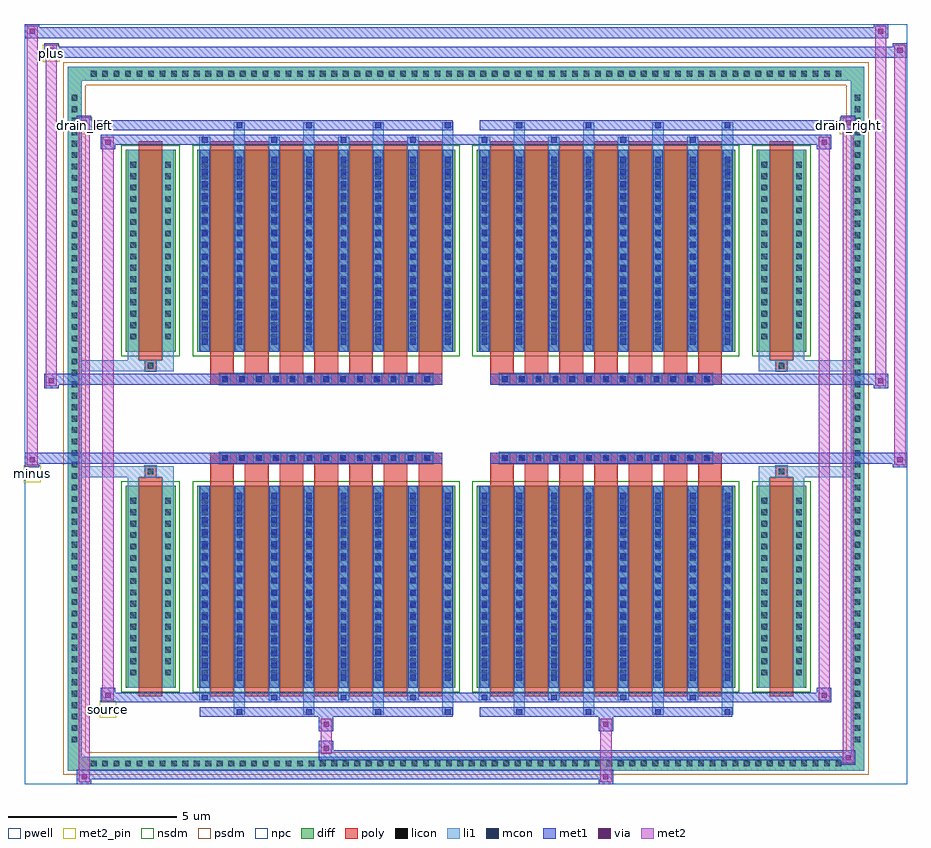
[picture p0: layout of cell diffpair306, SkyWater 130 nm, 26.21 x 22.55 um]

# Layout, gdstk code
import gdstk
lib = gdstk.Library(unit=1e-6, precision=5e-09)
def R(c, l, rs):  # rectangles x0, y0, x1, y1
    for r in rs: c.add(gdstk.rectangle(r[:2], r[2:], *l))
def A(c, l, x, y, w, h, nx, ny, dx, dy):  # array of equal rectangles
    R(c, l, [(x+i*dx, y+j*dy, x+i*dx+w, y+j*dy+h) for i in range(nx) for j in range(ny)])
def P(c, l, *ps):  # polygons
    for p in ps: c.add(gdstk.Polygon(p, *l))
pwell = (64, 44)
diff = (65, 20)
poly = (66, 20)
licon = (66, 44)
li1 = (67, 20)
mcon = (67, 44)
met1 = (68, 20)
via = (68, 44)
met2_pin = (69, 16)
met2 = (69, 20)
nsdm = (93, 44)
psdm = (94, 20)
npc = (95, 20)

diffpair306 = lib.new_cell('diffpair306')
R(diffpair306, pwell, [(-13.09,-10.84,13.09,11.71), (-10.41,-9.03,-0.01,-0.805), (0.01,-9.03,10.41,-0.805), (-10.41,0.805,-0.01,9.03), (0.01,0.805,10.41,9.03)])
A(diffpair306, diff, -11.255, -10.44, 0.41, 0.41, 66, 2, 0.34, 20.47)
A(diffpair306, diff, -11.82, -9.725, 0.41, 0.41, 1, 57, 0, 0.34)
A(diffpair306, diff, 11.41, -9.725, 0.41, 0.41, 1, 57, 0, 0.34)
R(diffpair306, diff, [(-11.255,-10.44,11.255,-10.03), (-11.82,-9.725,-11.41,9.725), (11.41,-9.725,11.82,9.725), (-10.1,-7.985,-8.62,-1.985), (-7.98,-7.985,-0.32,-1.985), (0.32,-7.985,7.98,-1.985), (8.62,-7.985,10.1,-1.985), (-10.1,1.985,-8.62,7.985), (-7.98,1.985,-0.32,7.985), (0.32,1.985,7.98,7.985), (8.62,1.985,10.1,7.985), (-11.255,10.03,11.255,10.44)])
P(diffpair306, diff, [(11.82,10.44),(-11.82,10.44),(-11.82,-10.03),(-11.41,-10.03),(-11.41,10.03),(11.41,10.03),(11.41,-10.03),(-11.41,-10.03),(-11.82,-10.03),(-11.82,-10.44),(11.82,-10.44)])
A(diffpair306, poly, -7.59, -8.235, 0.7, 6.5, 7, 2, 1.03, 9.97)
A(diffpair306, poly, 0.71, -8.235, 0.7, 6.5, 7, 2, 1.03, 9.97)
A(diffpair306, poly, -7.59, -1.735, 0.7, 0.4, 7, 2, 1.03, 3.07)
A(diffpair306, poly, 0.71, -1.735, 0.7, 0.4, 7, 2, 1.03, 3.07)
A(diffpair306, poly, -7.315, -1.335, 0.33, 0.33, 13, 2, 0.5, 2.34)
A(diffpair306, poly, 0.985, -1.335, 0.33, 0.33, 13, 2, 0.5, 2.34)
R(diffpair306, poly, [(-9.71,-8.235,-9.01,-1.735), (9.01,-8.235,9.71,-1.735), (-9.525,-1.735,-9.195,-1.405), (-9.525,-1.735,-9.195,-1.405), (9.195,-1.735,9.525,-1.405), (9.195,-1.735,9.525,-1.405), (-7.59,-1.335,-0.71,-1.005), (0.71,-1.335,7.59,-1.005), (-7.59,1.005,-0.71,1.335), (0.71,1.005,7.59,1.335), (-9.525,1.405,-9.195,1.735), (-9.525,1.405,-9.195,1.735), (9.195,1.405,9.525,1.735), (9.195,1.405,9.525,1.735), (-9.71,1.735,-9.01,8.235), (9.01,1.735,9.71,8.235)])
A(diffpair306, licon, -11.135, -10.32, 0.17, 0.17, 66, 2, 0.34, 20.47)
A(diffpair306, licon, -11.7, -9.605, 0.17, 0.17, 1, 57, 0, 0.34)
A(diffpair306, licon, 11.53, -9.605, 0.17, 0.17, 1, 57, 0, 0.34)
A(diffpair306, licon, -9.96, -7.62, 0.17, 0.17, 1, 16, 0, 0.34)
A(diffpair306, licon, -8.93, -7.62, 0.17, 0.17, 1, 16, 0, 0.34)
A(diffpair306, licon, -7.84, -7.62, 0.17, 0.17, 8, 16, 1.03, 0.34)
A(diffpair306, licon, 0.46, -7.62, 0.17, 0.17, 8, 16, 1.03, 0.34)
A(diffpair306, licon, 8.76, -7.62, 0.17, 0.17, 1, 16, 0, 0.34)
A(diffpair306, licon, 9.79, -7.62, 0.17, 0.17, 1, 16, 0, 0.34)
A(diffpair306, licon, -7.235, -1.255, 0.17, 0.17, 13, 2, 0.5, 2.34)
A(diffpair306, licon, 1.065, -1.255, 0.17, 0.17, 13, 2, 0.5, 2.34)
A(diffpair306, licon, -9.96, 2.35, 0.17, 0.17, 1, 16, 0, 0.34)
A(diffpair306, licon, -8.93, 2.35, 0.17, 0.17, 1, 16, 0, 0.34)
A(diffpair306, licon, -7.84, 2.35, 0.17, 0.17, 8, 16, 1.03, 0.34)
A(diffpair306, licon, 0.46, 2.35, 0.17, 0.17, 8, 16, 1.03, 0.34)
A(diffpair306, licon, 8.76, 2.35, 0.17, 0.17, 1, 16, 0, 0.34)
A(diffpair306, licon, 9.79, 2.35, 0.17, 0.17, 1, 16, 0, 0.34)
R(diffpair306, licon, [(-9.445,-1.655,-9.275,-1.485), (9.275,-1.655,9.445,-1.485), (-9.445,1.485,-9.275,1.655), (9.275,1.485,9.445,1.655)])
A(diffpair306, li1, -11.215, -10.4, 0.33, 0.33, 66, 2, 0.34, 20.47)
A(diffpair306, li1, -11.78, -9.685, 0.33, 0.33, 1, 57, 0, 0.34)
A(diffpair306, li1, 11.45, -9.685, 0.33, 0.33, 1, 57, 0, 0.34)
A(diffpair306, li1, -6.89, -8.79, 0.33, 0.805, 4, 2, 2.06, 16.775)
A(diffpair306, li1, -6.81, -8.79, 0.17, 0.17, 4, 2, 2.06, 17.41)
A(diffpair306, li1, 1.41, -8.79, 0.33, 0.805, 4, 2, 2.06, 16.775)
A(diffpair306, li1, 1.49, -8.79, 0.17, 0.17, 4, 2, 2.06, 17.41)
A(diffpair306, li1, -7.92, -8.36, 0.33, 0.375, 4, 2, 2.06, 16.345)
A(diffpair306, li1, -7.84, -8.36, 0.17, 0.17, 4, 2, 2.06, 16.55)
A(diffpair306, li1, 0.38, -8.36, 0.33, 0.375, 4, 2, 2.06, 16.345)
A(diffpair306, li1, 0.46, -8.36, 0.17, 0.17, 4, 2, 2.06, 16.55)
A(diffpair306, li1, -7.92, -7.985, 0.33, 6, 8, 2, 1.03, 9.97)
A(diffpair306, li1, 0.38, -7.985, 0.33, 6, 8, 2, 1.03, 9.97)
A(diffpair306, li1, -7.84, -7.77, 0.17, 0.17, 8, 16, 1.03, 0.36)
A(diffpair306, li1, -7.84, -7.77, 0.17, 5.57, 8, 2, 1.03, 9.97)
A(diffpair306, li1, 0.46, -7.77, 0.17, 0.17, 8, 16, 1.03, 0.36)
A(diffpair306, li1, 0.46, -7.77, 0.17, 5.57, 8, 2, 1.03, 9.97)
A(diffpair306, li1, -10.04, -7.7, 0.33, 0.33, 1, 16, 0, 0.34)
A(diffpair306, li1, -9.01, -7.7, 0.33, 0.33, 1, 16, 0, 0.34)
A(diffpair306, li1, -7.92, -7.7, 0.33, 0.33, 8, 16, 1.03, 0.34)
A(diffpair306, li1, 0.38, -7.7, 0.33, 0.33, 8, 16, 1.03, 0.34)
A(diffpair306, li1, 8.68, -7.7, 0.33, 0.33, 1, 16, 0, 0.34)
A(diffpair306, li1, 9.71, -7.7, 0.33, 0.33, 1, 16, 0, 0.34)
A(diffpair306, li1, -7.315, -1.335, 0.33, 0.33, 13, 2, 0.5, 2.34)
A(diffpair306, li1, 0.985, -1.335, 0.33, 0.33, 13, 2, 0.5, 2.34)
A(diffpair306, li1, -7.84, 2.2, 0.17, 0.17, 8, 16, 1.03, 0.36)
A(diffpair306, li1, 0.46, 2.2, 0.17, 0.17, 8, 16, 1.03, 0.36)
A(diffpair306, li1, -10.04, 2.27, 0.33, 0.33, 1, 16, 0, 0.34)
A(diffpair306, li1, -9.01, 2.27, 0.33, 0.33, 1, 16, 0, 0.34)
A(diffpair306, li1, -7.92, 2.27, 0.33, 0.33, 8, 16, 1.03, 0.34)
A(diffpair306, li1, 0.38, 2.27, 0.33, 0.33, 8, 16, 1.03, 0.34)
A(diffpair306, li1, 8.68, 2.27, 0.33, 0.33, 1, 16, 0, 0.34)
A(diffpair306, li1, 9.71, 2.27, 0.33, 0.33, 1, 16, 0, 0.34)
R(diffpair306, li1, [(-11.82,-10.44,-11.41,-10.03), (-11.82,-10.44,-11.41,-10.03), (-11.41,-10.44,11.41,-10.03), (11.41,-10.44,11.82,-10.03), (11.41,-10.44,11.82,-10.03), (-11.82,-10.03,-11.41,10.03), (11.41,-10.03,11.82,10.03), (-10.04,-7.985,-9.71,-1.985), (-9.01,-7.985,-8.68,-1.985), (8.68,-7.985,9.01,-1.985), (9.71,-7.985,10.04,-1.985), (-10.04,-1.985,-9.71,-1.405), (-9.01,-1.985,-8.68,-1.405), (8.68,-1.985,9.01,-1.405), (9.71,-1.985,10.04,-1.405), (-11.82,-1.735,-9.525,-1.405), (-10.04,-1.735,-9.525,-1.405), (-9.525,-1.735,-9.195,-1.405), (-9.195,-1.735,-8.68,-1.405), (8.68,-1.735,9.195,-1.405), (9.195,-1.735,9.525,-1.405), (9.195,-1.735,11.82,-1.405), (9.525,-1.735,10.04,-1.405), (-11.82,1.405,-9.525,1.735), (-10.04,1.405,-9.525,1.735), (-10.04,1.405,-9.71,1.985), (-9.525,1.405,-9.195,1.735), (-9.195,1.405,-8.68,1.735), (-9.01,1.405,-8.68,1.985), (8.68,1.405,9.195,1.735), (8.68,1.405,9.01,1.985), (9.195,1.405,9.525,1.735), (9.195,1.405,11.82,1.735), (9.525,1.405,10.04,1.735), (9.71,1.405,10.04,1.985), (-10.04,1.985,-9.71,7.985), (-9.01,1.985,-8.68,7.985), (8.68,1.985,9.01,7.985), (9.71,1.985,10.04,7.985), (-11.82,10.03,-11.41,10.44), (-11.82,10.03,-11.41,10.44), (-11.41,10.03,11.41,10.44), (11.41,10.03,11.82,10.44), (11.41,10.03,11.82,10.44)])
A(diffpair306, mcon, -6.81, -8.79, 0.17, 0.17, 4, 2, 2.06, 17.41)
A(diffpair306, mcon, 1.49, -8.79, 0.17, 0.17, 4, 2, 2.06, 17.41)
A(diffpair306, mcon, -7.84, -8.36, 0.17, 0.17, 4, 2, 2.06, 16.55)
A(diffpair306, mcon, 0.46, -8.36, 0.17, 0.17, 4, 2, 2.06, 16.55)
A(diffpair306, mcon, -7.84, -7.77, 0.17, 0.17, 8, 16, 1.03, 0.36)
A(diffpair306, mcon, 0.46, -7.77, 0.17, 0.17, 8, 16, 1.03, 0.36)
A(diffpair306, mcon, -7.235, -1.255, 0.17, 0.17, 13, 2, 0.5, 2.34)
A(diffpair306, mcon, 1.065, -1.255, 0.17, 0.17, 13, 2, 0.5, 2.34)
A(diffpair306, mcon, -7.84, 2.2, 0.17, 0.17, 8, 16, 1.03, 0.36)
A(diffpair306, mcon, 0.46, 2.2, 0.17, 0.17, 8, 16, 1.03, 0.36)
A(diffpair306, met1, -6.87, -8.85, 0.29, 0.29, 4, 2, 2.06, 17.41)
A(diffpair306, met1, 1.43, -8.85, 0.29, 0.29, 4, 2, 2.06, 17.41)
A(diffpair306, met1, -7.9, -8.42, 0.29, 0.29, 4, 2, 2.06, 16.55)
A(diffpair306, met1, 0.4, -8.42, 0.29, 0.29, 4, 2, 2.06, 16.55)
A(diffpair306, met1, -7.9, -7.985, 0.29, 6, 8, 2, 1.03, 9.97)
A(diffpair306, met1, 0.4, -7.985, 0.29, 6, 8, 2, 1.03, 9.97)
A(diffpair306, met1, -7.9, -7.83, 0.29, 0.29, 8, 16, 1.03, 0.36)
A(diffpair306, met1, 0.4, -7.83, 0.29, 0.29, 8, 16, 1.03, 0.36)
A(diffpair306, met1, -7.295, -1.315, 0.29, 0.29, 13, 2, 0.5, 2.34)
A(diffpair306, met1, 1.005, -1.315, 0.29, 0.29, 13, 2, 0.5, 2.34)
A(diffpair306, met1, -7.9, 2.14, 0.29, 0.29, 8, 16, 1.03, 0.36)
A(diffpair306, met1, 0.4, 2.14, 0.29, 0.29, 8, 16, 1.03, 0.36)
R(diffpair306, met1, [(-11.55,-10.84,-11.12,-10.41), (3.935,-10.84,4.365,-10.41), (-11.55,-10.7,4.365,-10.41), (11.12,-10.27,11.55,-9.84), (-4.365,-10.13,11.55,-9.84), (-4.365,-9.99,-3.935,-9.56), (-4.365,-9.28,-3.935,-8.85), (3.935,-9.28,4.365,-8.85), (-7.9,-8.85,-0.4,-8.56), (0.4,-8.85,7.9,-8.56), (-10.84,-8.42,-10.41,-7.99), (-10.84,-8.42,-7.9,-8.13), (-7.9,-8.42,-0.4,-8.13), (-0.4,-8.42,0.4,-8.13), (0.4,-8.42,7.9,-8.13), (7.9,-8.42,10.84,-8.13), (10.41,-8.42,10.84,-7.99), (-13.09,-1.435,-12.66,-1.005), (12.66,-1.435,13.09,-1.005), (-13.09,-1.335,-0.71,-1.005), (-7.59,-1.335,-0.71,-1.005), (0.71,-1.335,7.59,-1.005), (0.71,-1.335,13.09,-1.005), (-12.52,0.905,-12.09,1.335), (12.09,0.905,12.52,1.335), (-12.52,1.005,-7.59,1.335), (-7.59,1.005,-0.71,1.335), (0.71,1.005,7.59,1.335), (7.59,1.005,12.52,1.335), (-10.84,7.99,-10.41,8.42), (10.41,7.99,10.84,8.42), (-10.84,8.13,-7.9,8.42), (-7.9,8.13,-0.4,8.42), (-0.4,8.13,0.4,8.42), (0.4,8.13,7.9,8.42), (7.9,8.13,10.84,8.42), (-11.55,8.56,-11.12,8.99), (-11.55,8.56,-7.9,8.85), (-7.9,8.56,-0.4,8.85), (0.4,8.56,7.9,8.85), (7.9,8.56,11.55,8.85), (11.12,8.56,11.55,8.99), (-12.52,10.71,-12.09,11.14), (-12.52,10.71,-10.41,11.04), (-10.41,10.71,10.41,11.04), (10.41,10.71,13.09,11.04), (12.66,10.71,13.09,11.14), (-13.09,11.28,-12.66,11.71), (-13.09,11.28,-10.41,11.61), (-10.41,11.28,10.41,11.61), (10.41,11.28,12.52,11.61), (12.09,11.28,12.52,11.71)])
R(diffpair306, via, [(-11.41,-10.7,-11.26,-10.55), (4.075,-10.7,4.225,-10.55), (11.26,-10.13,11.41,-9.98), (-4.225,-9.85,-4.075,-9.7), (-4.225,-9.14,-4.075,-8.99), (4.075,-9.14,4.225,-8.99), (-10.7,-8.28,-10.55,-8.13), (10.55,-8.28,10.7,-8.13), (-12.95,-1.295,-12.8,-1.145), (12.8,-1.295,12.95,-1.145), (-12.38,1.045,-12.23,1.195), (12.23,1.045,12.38,1.195), (-10.7,8.13,-10.55,8.28), (10.55,8.13,10.7,8.28), (-11.41,8.7,-11.26,8.85), (11.26,8.7,11.41,8.85), (-12.38,10.85,-12.23,11), (12.8,10.85,12.95,11), (-12.95,11.42,-12.8,11.57), (12.23,11.42,12.38,11.57)])
R(diffpair306, met2_pin, [(-10.875,-8.87,-10.375,-8.37), (-13.125,-1.885,-12.625,-1.385), (-11.585,8.44,-11.085,8.94), (11.085,8.44,11.585,8.94), (-12.555,10.59,-12.055,11.09)])
R(diffpair306, met2, [(-11.5,-10.79,-11.17,-10.46), (-11.5,-10.79,-11.17,8.94), (3.985,-10.79,4.315,-10.46), (3.985,-10.46,4.315,-9.23), (11.17,-10.22,11.5,-9.89), (11.17,-10.22,11.5,8.94), (-4.315,-9.94,-3.985,-9.61), (-4.315,-9.61,-3.985,-9.23), (-4.315,-9.23,-3.985,-8.9), (3.985,-9.23,4.315,-8.9), (-10.79,-8.37,-10.46,-8.04), (-10.79,-8.37,-10.46,8.37), (10.46,-8.37,10.79,-8.04), (10.46,-8.37,10.79,8.37), (-13.04,-1.385,-12.71,-1.055), (-13.04,-1.385,-12.71,11.66), (12.71,-1.385,13.04,-1.055), (12.71,-1.385,13.04,11.09), (-12.47,0.955,-12.14,1.285), (-12.47,0.955,-12.14,11.09), (12.14,0.955,12.47,1.285), (12.14,0.955,12.47,11.66), (-10.79,8.04,-10.46,8.37), (10.46,8.04,10.79,8.37), (-11.5,8.61,-11.17,8.94), (11.17,8.61,11.5,8.94), (-12.47,10.76,-12.14,11.09), (12.71,10.76,13.04,11.09), (-13.04,11.33,-12.71,11.66), (12.14,11.33,12.47,11.66)])
P(diffpair306, met2, [(13.04,-1.385),(13.04,-1.385),(13.04,-1.055),(13.04,-1.055)],
  [(13.04,10.76),(13.04,10.76),(13.04,11.09),(13.04,11.09)],
  [(-12.71,-1.385),(-12.71,-1.385),(-12.71,-1.055),(-12.71,-1.055)],
  [(-12.71,11.33),(-12.71,11.33),(-12.71,11.66),(-12.71,11.66)],
  [(12.47,0.955),(12.47,0.955),(12.47,1.285),(12.47,1.285)],
  [(12.47,11.33),(12.47,11.33),(12.47,11.66),(12.47,11.66)],
  [(-12.14,0.955),(-12.14,0.955),(-12.14,1.285),(-12.14,1.285)],
  [(-12.14,10.76),(-12.14,10.76),(-12.14,11.09),(-12.14,11.09)],
  [(-11.17,-10.79),(-11.17,-10.79),(-11.17,-10.46),(-11.17,-10.46)],
  [(-11.17,8.61),(-11.17,8.61),(-11.17,8.94),(-11.17,8.94)],
  [(11.5,-10.22),(11.5,-10.22),(11.5,-9.89),(11.5,-9.89)],
  [(11.5,8.61),(11.5,8.61),(11.5,8.94),(11.5,8.94)],
  [(-10.46,-8.37),(-10.46,-8.37),(-10.46,-8.04),(-10.46,-8.04)],
  [(-10.46,8.04),(-10.46,8.04),(-10.46,8.37),(-10.46,8.37)],
  [(10.79,-8.37),(10.79,-8.37),(10.79,-8.04),(10.79,-8.04)],
  [(10.79,8.04),(10.79,8.04),(10.79,8.37),(10.79,8.37)])
R(diffpair306, nsdm, [(-10.23,-8.115,-8.49,-1.855), (-8.11,-8.115,-0.19,-1.855), (0.19,-8.115,8.11,-1.855), (8.49,-8.115,10.23,-1.855), (-10.23,1.855,-8.49,8.115), (-8.11,1.855,-0.19,8.115), (0.19,1.855,8.11,8.115), (8.49,1.855,10.23,8.115)])
P(diffpair306, psdm, [(11.95,10.57),(-11.95,10.57),(-11.95,-9.9),(-11.28,-9.9),(-11.28,9.9),(11.28,9.9),(11.28,-9.9),(-11.28,-9.9),(-11.95,-9.9),(-11.95,-10.57),(11.95,-10.57)])
A(diffpair306, npc, -7.335, -1.355, 0.37, 0.37, 13, 2, 0.5, 2.34)
A(diffpair306, npc, 0.965, -1.355, 0.37, 0.37, 13, 2, 0.5, 2.34)
R(diffpair306, npc, [(-9.545,-1.755,-9.175,-1.385), (9.175,-1.755,9.545,-1.385), (-7.335,-1.355,-6.465,-0.985), (-7.335,-1.355,-6.465,-0.985), (-6.835,-1.355,-5.965,-0.985), (-6.835,-1.355,-5.965,-0.985), (-6.335,-1.355,-5.465,-0.985), (-6.335,-1.355,-5.465,-0.985), (-5.835,-1.355,-4.965,-0.985), (-5.835,-1.355,-4.965,-0.985), (-5.335,-1.355,-4.465,-0.985), (-5.335,-1.355,-4.465,-0.985), (-4.835,-1.355,-3.965,-0.985), (-4.835,-1.355,-3.965,-0.985), (-4.335,-1.355,-3.465,-0.985), (-4.335,-1.355,-3.465,-0.985), (-3.835,-1.355,-2.965,-0.985), (-3.835,-1.355,-2.965,-0.985), (-3.335,-1.355,-2.465,-0.985), (-3.335,-1.355,-2.465,-0.985), (-2.835,-1.355,-1.965,-0.985), (-2.835,-1.355,-1.965,-0.985), (-2.335,-1.355,-1.465,-0.985), (-2.335,-1.355,-1.465,-0.985), (-1.835,-1.355,-0.965,-0.985), (-1.835,-1.355,-0.965,-0.985), (0.965,-1.355,1.835,-0.985), (0.965,-1.355,1.835,-0.985), (1.465,-1.355,2.335,-0.985), (1.465,-1.355,2.335,-0.985), (1.965,-1.355,2.835,-0.985), (1.965,-1.355,2.835,-0.985), (2.465,-1.355,3.335,-0.985), (2.465,-1.355,3.335,-0.985), (2.965,-1.355,3.835,-0.985), (2.965,-1.355,3.835,-0.985), (3.465,-1.355,4.335,-0.985), (3.465,-1.355,4.335,-0.985), (3.965,-1.355,4.835,-0.985), (3.965,-1.355,4.835,-0.985), (4.465,-1.355,5.335,-0.985), (4.465,-1.355,5.335,-0.985), (4.965,-1.355,5.835,-0.985), (4.965,-1.355,5.835,-0.985), (5.465,-1.355,6.335,-0.985), (5.465,-1.355,6.335,-0.985), (5.965,-1.355,6.835,-0.985), (5.965,-1.355,6.835,-0.985), (6.465,-1.355,7.335,-0.985), (6.465,-1.355,7.335,-0.985), (-7.335,0.985,-6.465,1.355), (-7.335,0.985,-6.465,1.355), (-6.835,0.985,-5.965,1.355), (-6.835,0.985,-5.965,1.355), (-6.335,0.985,-5.465,1.355), (-6.335,0.985,-5.465,1.355), (-5.835,0.985,-4.965,1.355), (-5.835,0.985,-4.965,1.355), (-5.335,0.985,-4.465,1.355), (-5.335,0.985,-4.465,1.355), (-4.835,0.985,-3.965,1.355), (-4.835,0.985,-3.965,1.355), (-4.335,0.985,-3.465,1.355), (-4.335,0.985,-3.465,1.355), (-3.835,0.985,-2.965,1.355), (-3.835,0.985,-2.965,1.355), (-3.335,0.985,-2.465,1.355), (-3.335,0.985,-2.465,1.355), (-2.835,0.985,-1.965,1.355), (-2.835,0.985,-1.965,1.355), (-2.335,0.985,-1.465,1.355), (-2.335,0.985,-1.465,1.355), (-1.835,0.985,-0.965,1.355), (-1.835,0.985,-0.965,1.355), (0.965,0.985,1.835,1.355), (0.965,0.985,1.835,1.355), (1.465,0.985,2.335,1.355), (1.465,0.985,2.335,1.355), (1.965,0.985,2.835,1.355), (1.965,0.985,2.835,1.355), (2.465,0.985,3.335,1.355), (2.465,0.985,3.335,1.355), (2.965,0.985,3.835,1.355), (2.965,0.985,3.835,1.355), (3.465,0.985,4.335,1.355), (3.465,0.985,4.335,1.355), (3.965,0.985,4.835,1.355), (3.965,0.985,4.835,1.355), (4.465,0.985,5.335,1.355), (4.465,0.985,5.335,1.355), (4.965,0.985,5.835,1.355), (4.965,0.985,5.835,1.355), (5.465,0.985,6.335,1.355), (5.465,0.985,6.335,1.355), (5.965,0.985,6.835,1.355), (5.965,0.985,6.835,1.355), (6.465,0.985,7.335,1.355), (6.465,0.985,7.335,1.355), (-9.545,1.385,-9.175,1.755), (9.175,1.385,9.545,1.755)])
diffpair306.add(gdstk.Label('minus', (-12.875,-1.635), layer=69, texttype=5))
diffpair306.add(gdstk.Label('drain_right', (11.335,8.69), layer=69, texttype=5))
diffpair306.add(gdstk.Label('drain_left', (-11.335,8.69), layer=69, texttype=5))
diffpair306.add(gdstk.Label('source', (-10.625,-8.62), layer=69, texttype=5))
diffpair306.add(gdstk.Label('plus', (-12.305,10.84), layer=69, texttype=5))

lib.write_gds('diffpair306.gds')
